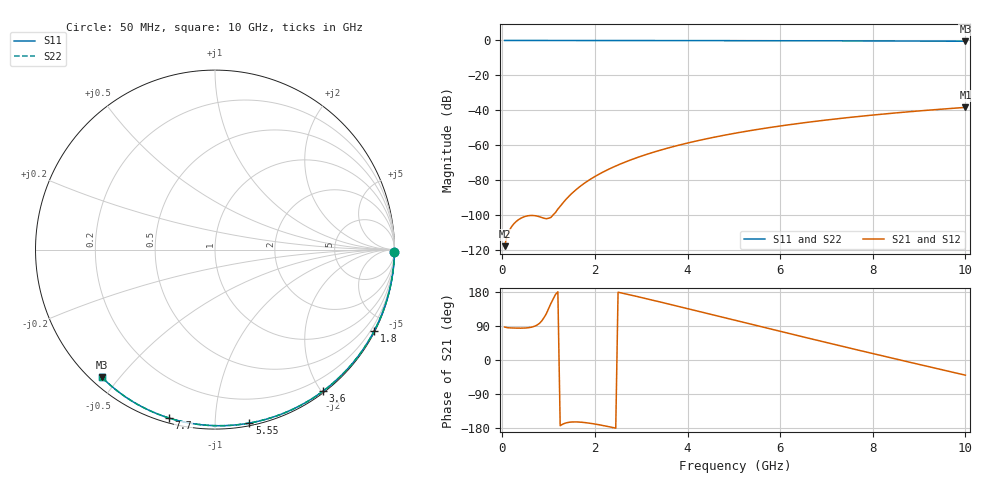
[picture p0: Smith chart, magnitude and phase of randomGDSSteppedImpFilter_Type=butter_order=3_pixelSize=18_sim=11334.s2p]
! freq	dB(S11)	phase(S11)	dB(S12)	phase(S12)
!  dB(S21)	phase(S21)	dB(S22)	phase(S22)
!S-par simulation data
#  GHz  S  DB  R 50
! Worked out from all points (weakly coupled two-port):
!   200 points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, 50 MHz to 10 GHz, reference 50 ohm
!   highest |S21| = -38.39 dB at 10 GHz (marker M1); lowest = -117.9 dB at 50 MHz (marker M2)
!   lowest |S11| = -0.4 dB at 10 GHz (marker M3), VSWR 39.09, Z = 1.54 - j22.5 ohm
!   |S11| at or under -10 dB: nowhere
!   |S22| runs from -0.4 to 0.0 dB; largest |S21 - S12| = 0
!   S11 on the Smith chart (normalised r, x): 50 MHz: open; 1.8 GHz: 0.04, -4.17; 3.6 GHz: 0.02, -2.02; 5.55 GHz: 0.02, -1.22; 7.7 GHz: 0.02, -0.76; 10 GHz: 0.03, -0.45
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0.05  -0.00 -0.8  -117.94 87.0  -117.94 87.0  -0.00 -0.8
0.9  -0.02 -13.6  -101.92 111.7  -101.92 111.7  -0.02 -13.6
1.75  -0.03 -26.2  -82.29 -164.7  -82.29 -164.7  -0.03 -26.2
1.8  -0.03 -27.0  -81.35 -165.4  -81.35 -165.4  -0.03 -27.0
1.85  -0.04 -27.7  -80.46 -166.2  -80.46 -166.2  -0.04 -27.7
1.9  -0.04 -28.4  -79.61 -167.0  -79.61 -167.0  -0.04 -28.4
2.05  -0.04 -30.6  -77.23 -170.1  -77.23 -170.1  -0.04 -30.6
2.25  -0.04 -33.5  -74.44 -174.7  -74.44 -174.7  -0.04 -33.5
2.45  -0.05 -36.4  -71.96 -179.8  -71.96 -179.8  -0.05 -36.4
2.65  -0.05 -39.3  -69.74 174.8  -69.74 174.8  -0.05 -39.3
3  -0.06 -44.3  -66.33 165.0  -66.33 165.0  -0.06 -44.3
3.4  -0.07 -50.0  -63.00 153.4  -63.00 153.4  -0.07 -50.0
3.6  -0.07 -52.7  -61.51 147.5  -61.51 147.5  -0.07 -52.7
4.3  -0.09 -62.3  -57.00 126.6  -57.00 126.6  -0.09 -62.3
5.05  -0.11 -72.3  -53.07 104.1  -53.07 104.1  -0.11 -72.3
5.55  -0.13 -78.8  -50.84 89.1  -50.84 89.1  -0.13 -78.8
6.1  -0.15 -85.7  -48.66 72.7  -48.66 72.7  -0.15 -85.7
6.7  -0.18 -93.2  -46.56 54.9  -46.56 54.9  -0.18 -93.2
7.7  -0.24 -105.2  -43.56 25.7  -43.56 25.7  -0.24 -105.2
8.35  -0.29 -112.8  -41.89 6.9  -41.89 6.9  -0.29 -112.8
9.15  -0.36 -122.0  -40.07 -15.9  -40.07 -15.9  -0.36 -122.0
10  -0.44 -131.6  -38.39 -40.0  -38.39 -40.0  -0.44 -131.6
